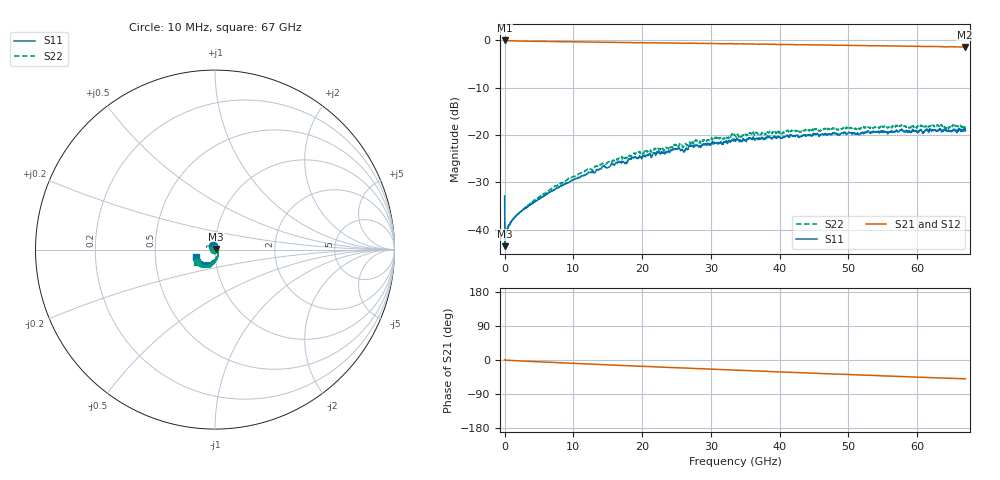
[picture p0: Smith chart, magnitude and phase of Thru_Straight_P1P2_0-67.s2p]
!Keysight Technologies,N5247B,MY61256062,A.16.20.04
!Date: Thursday, February 19, 2026 07:21:44
!Correction: S11(C  2-Port  )
!S21(C  2-Port  )
!S12(C  2-Port  )
!S22(C  2-Port  )
!S2P File: Measurements: S11, S21, S12, S22:
# Hz S  dB  R 50
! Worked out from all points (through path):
!   1601 points, 10 MHz to 67 GHz, reference 50 ohm
!   highest |S21| = -0.04 dB at 10 MHz (marker M1); lowest = -1.4 dB at 66.87 GHz (marker M2)
!   group delay of S21, straight-line fit = 2.03 ps
!   lowest |S11| = -43.5 dB at 51.87 MHz (marker M3), VSWR 1.01, Z = 50.6 + j0.385 ohm
!   |S11| at or under -10 dB: start of sweep to end of sweep
!   |S22| runs from -43.3 to -17.8 dB; largest |S21 - S12| = 0.022
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1e7  -32.87 123.8  -0.04 0.5  -0.04 -0.8  -43.32 137.7
5.186875e7  -43.48 34.6  -0.05 -0.3  -0.05 -0.3  -43.20 36.7
3.868188e8  -39.74 13.1  -0.10 -0.6  -0.10 -0.6  -39.79 11.8
1.3498e9  -37.63 2.9  -0.13 -1.6  -0.13 -1.6  -37.63 0.8
2.940812e9  -35.57 -15.0  -0.18 -3.0  -0.18 -3.0  -35.45 -18.1
7.127688e9  -31.69 -46.9  -0.27 -6.6  -0.27 -6.6  -31.04 -49.6
1.118896e10  -28.70 -65.4  -0.34 -9.9  -0.34 -9.8  -27.99 -67.5
1.424538e10  -26.58 -74.5  -0.40 -12.3  -0.40 -12.3  -25.99 -77.9
1.700871e10  -25.86 -83.3  -0.46 -14.5  -0.46 -14.4  -24.56 -86.2
2.236791e10  -23.37 -93.4  -0.55 -18.5  -0.55 -18.4  -22.86 -95.2
2.513125e10  -22.91 -99.8  -0.61 -20.5  -0.61 -20.4  -22.55 -99.9
2.592676e10  -23.22 -103.0  -0.63 -21.0  -0.63 -20.8  -22.69 -99.1
2.705721e10  -22.19 -103.0  -0.63 -21.8  -0.63 -21.8  -22.02 -102.9
3.3505e10  -21.08 -113.9  -0.75 -26.8  -0.75 -26.7  -20.10 -111.0
3.430051e10  -21.07 -115.9  -0.77 -27.2  -0.77 -27.0  -20.36 -111.0
3.589152e10  -20.84 -119.0  -0.79 -28.4  -0.79 -28.3  -19.80 -113.7
4.468396e10  -20.21 -129.8  -0.96 -34.5  -0.96 -34.5  -18.97 -122.7
5.586291e10  -19.38 -143.4  -1.18 -42.3  -1.18 -41.9  -18.25 -134.9
6.323181e10  -18.76 -152.1  -1.33 -47.5  -1.33 -47.3  -18.12 -142.5
6.427853e10  -18.97 -155.1  -1.39 -47.8  -1.39 -47.6  -18.36 -142.6
6.687439e10  -18.57 -159.2  -1.44 -49.4  -1.44 -49.5  -18.47 -145.6
6.7e10  -19.07 -158.6  -1.44 -49.5  -1.44 -49.6  -18.18 -145.9
